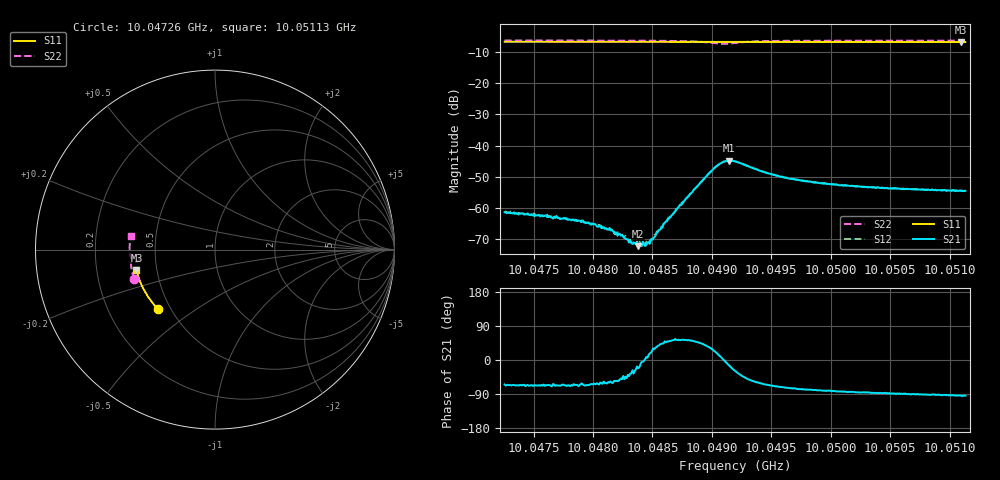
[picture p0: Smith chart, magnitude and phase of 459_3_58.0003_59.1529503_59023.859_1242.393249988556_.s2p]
#  HZ  S  RI  R  50.00
! Rohde & Schwarz Vector Network Analyzer
! Rohde-Schwarz,ZNB20-2Port,1311601062101988,3.16
! Created: UTC 3/21/2024, 1:10:54 AM
! freq[Hz]  re:S11  im:S11  re:S21  im:S21  re:S12  im:S12  re:S22  im:S22
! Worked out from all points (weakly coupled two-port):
!   401 points, 10.04726 GHz to 10.05113 GHz, reference 50 ohm
!   highest |S21| = -44.81 dB at 10.04915 GHz (marker M1); lowest = -72.1 dB at 10.04838 GHz (marker M2)
!   lowest |S11| = -6.9 dB at 10.05109 GHz (marker M3), VSWR 2.65, Z = 19.1 - j5.47 ohm
!   |S11| at or under -10 dB: nowhere
!   |S22| runs from -7.4 to -6.4 dB; largest |S21 - S12| = 0.0004
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1.0047257e10  -0.3174 -0.3314  0.000369 -0.000775  0.000424 -0.000788  -0.4501 -0.1648
1.0047693e10  -0.3369 -0.3102  0.000294 -0.00068  0.000334 -0.000668  -0.4586 -0.1361
1.0047906e10  -0.3459 -0.2993  0.000283 -0.000529  0.000336 -0.000547  -0.4621 -0.1216
1.0048051e10  -0.3518 -0.2918  0.000221 -0.00047  0.000288 -0.000455  -0.4642 -0.1112
1.0048158e10  -0.3562 -0.2864  0.000229 -0.000396  0.000251 -0.000355  -0.4655 -0.1037
1.0048265e10  -0.3602 -0.2808  0.000213 -0.000256  0.00027 -0.000229  -0.4667 -0.0958
1.0048342e10  -0.3634 -0.2767  0.000229 -0.000166  0.000241 -0.000118  -0.4673 -0.0898
1.0048381e10  -0.365 -0.2744  0.00023 -9.02e-05  0.000268 -8.49e-05  -0.4675 -0.0865
1.004842e10  -0.3664 -0.2725  0.000291 -2.33e-05  0.000273 -7.69e-06  -0.4678 -0.0835
1.0048458e10  -0.3679 -0.2703  0.00028 2.9e-05  0.000276 5.15e-05  -0.4677 -0.0804
1.0048487e10  -0.3689 -0.2687  0.000294 0.000103  0.000295 0.000122  -0.4679 -0.078
1.0048555e10  -0.3714 -0.265  0.000354 0.000281  0.000347 0.000297  -0.4678 -0.0721
1.004872e10  -0.3773 -0.2559  0.000617 0.000834  0.000558 0.000884  -0.4658 -0.0565
1.0049001e10  -0.3866 -0.2399  0.00354 0.00191  0.00342 0.00216  -0.438 -0.032
1.0049079e10  -0.3889 -0.2356  0.00524 0.000652  0.00519 0.000991  -0.4237 -0.0415
1.0049147e10  -0.3911 -0.232  0.00555 -0.00147  0.00564 -0.00113  -0.4239 -0.0578
1.0049195e10  -0.3927 -0.2294  0.00487 -0.00271  0.00508 -0.00241  -0.4319 -0.0657
1.0049525e10  -0.4029 -0.2103  0.00124 -0.00316  0.00143 -0.00311  -0.469 -0.0437
1.0049844e10  -0.4118 -0.1914  0.00051 -0.00256  0.000635 -0.00254  -0.475 -0.016
1.0050494e10  -0.4272 -0.1514  8.98e-05 -0.00206  0.000209 -0.0021  -0.4754 0.0314
1.0051095e10  -0.4375 -0.1137  -0.000111 -0.00189  -5.8e-08 -0.00193  -0.4706 0.0725
1.0051133e10  -0.4383 -0.1112  -0.000132 -0.00189  -4.65e-05 -0.00191  -0.4702 0.0749
